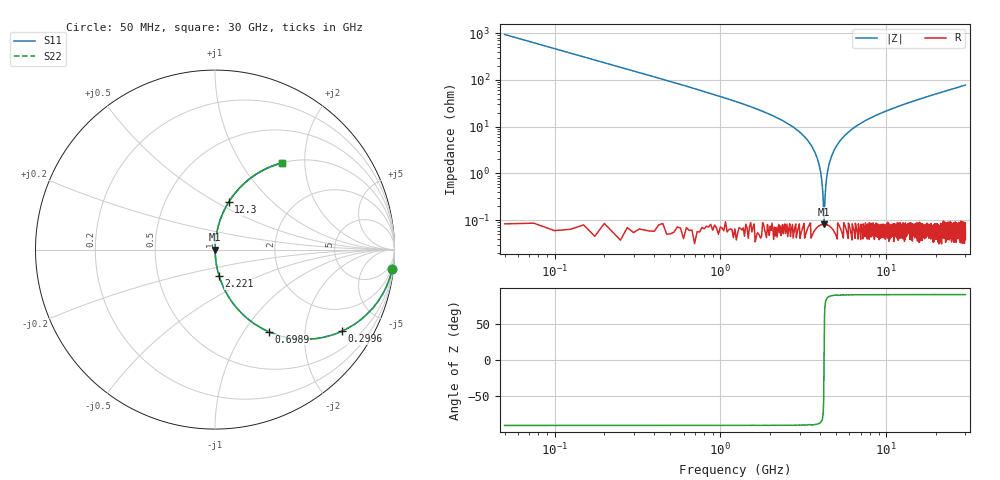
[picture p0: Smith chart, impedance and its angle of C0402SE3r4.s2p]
!	AVX Thin Film Operation 	Date: April 2014
!	Description: Accu-P® Series, Thin Film  SMD RF Capacitor
!	Part Number: 04025J3R4ABSTR
# MHZ S MA R 50
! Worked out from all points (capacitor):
!   1201 points, 50 MHz to 30 GHz, reference 50 ohm
!   read as one part in series: C = 3.4 pF near 199.8 MHz
!   lowest |Z| = 81.9 mohm at 4.218 GHz (marker M1)
!   series resonance near 4.217 GHz, so ESL is about 420 pH
!   S11 on the Smith chart (normalised r, x): 50 MHz: 1, -19; 299.6 MHz: 1.00, -3.11; 698.9 MHz: 1.00, -1.30; 2.221 GHz: 1.00, -0.30; 12.3 GHz: 1.00, +0.57; 30 GHz: 1.00, +1.55
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50  0.994 -6.1  0.106 83.9  0.106 83.9  0.994 -6.1
299.583  0.841 -32.7  0.541 57.2  0.541 57.2  0.841 -32.7
698.917  0.546 -56.9  0.838 33.1  0.838 33.1  0.546 -56.9
1248  0.324 -71.0  0.946 18.9  0.946 18.9  0.324 -71.0
2221.375  0.15 -81.1  0.988 8.7  0.988 8.7  0.15 -81.1
3094.917  0.07 -85.5  0.997 4.0  0.997 4.0  0.07 -85.5
3619.042  0.034 -87.0  0.999 1.9  0.999 1.9  0.034 -87.0
3918.542  0.016 -86.9  0.999 0.9  0.999 0.9  0.016 -86.9
4118.208  0.005283 -82.9  0.999 0.3  0.999 0.3  0.005283 -82.9
4218.042  0.0006337 6.3  0.999 -0.0  0.999 -0.0  0.0006337 6.3
4317.875  0.005298 82.9  0.999 -0.3  0.999 -0.3  0.005298 82.9
4442.667  0.012 86.2  0.999 -0.7  0.999 -0.7  0.012 86.2
4592.417  0.019 87.0  0.999 -1.1  0.999 -1.1  0.019 87.0
5041.667  0.04 86.8  0.999 -2.3  0.999 -2.3  0.04 86.8
5715.542  0.068 85.6  0.997 -3.9  0.997 -3.9  0.068 85.6
6738.833  0.107 83.5  0.994 -6.2  0.994 -6.2  0.107 83.5
10058.29  0.213 77.5  0.976 -12.3  0.976 -12.3  0.213 77.5
12304.54  0.275 73.9  0.961 -15.9  0.961 -15.9  0.275 73.9
15025  0.342 69.9  0.939 -20.0  0.939 -20.0  0.342 69.9
20016.67  0.45 63.2  0.893 -26.7  0.893 -26.7  0.45 63.2
25033.29  0.539 57.3  0.842 -32.6  0.842 -32.6  0.539 57.3
30000  0.612 52.2  0.79 -37.7  0.79 -37.7  0.612 52.2
